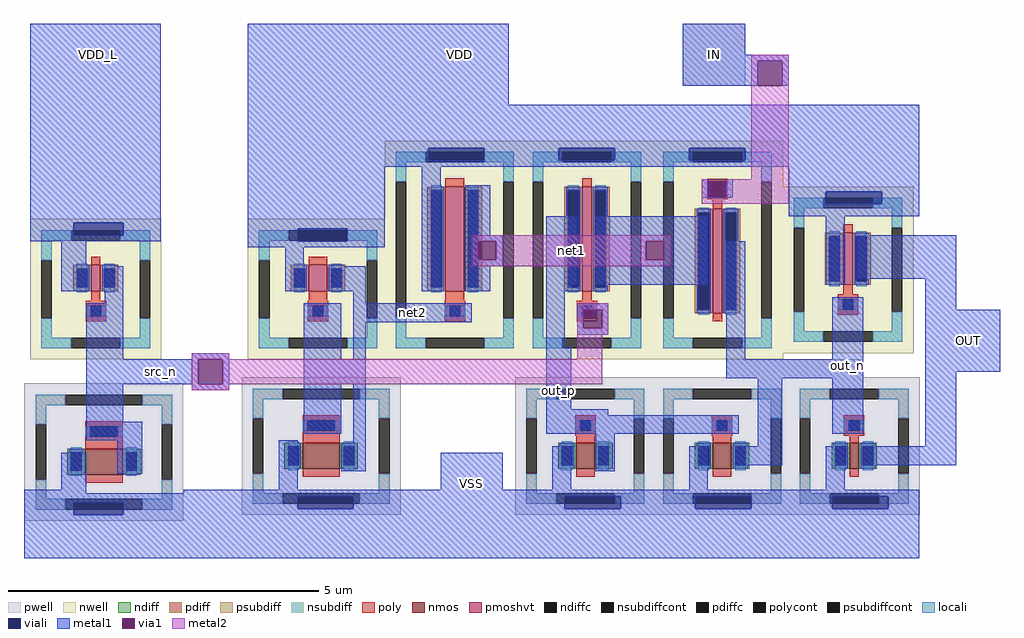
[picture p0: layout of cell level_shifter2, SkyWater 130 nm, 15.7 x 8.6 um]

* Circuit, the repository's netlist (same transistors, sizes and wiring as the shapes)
** sch_path: /tmp/tt10-level-shifter/xschem/level_shifter2.sch
.subckt level_shifter2 VSS VDD VDD_L IN OUT
*.PININFO VDD_L:B VDD:B VSS:B IN:I OUT:O
XM5 out_p src_n net1 VDD sky130_fd_pr__pfet_01v8_hvt L=0.15 W=1.68 nf=1 m=1
XM6 out_n IN net1 VDD sky130_fd_pr__pfet_01v8_hvt L=0.15 W=1.68 nf=1 m=1
XM7 out_p out_p VSS VSS sky130_fd_pr__nfet_01v8 L=0.3 W=0.42 nf=1 m=1
XM8 out_n out_p VSS VSS sky130_fd_pr__nfet_01v8 L=0.3 W=0.42 nf=1 m=1
XM9 OUT out_n VSS VSS sky130_fd_pr__nfet_01v8 L=0.15 W=0.42 nf=1 m=1
XM10 OUT out_n VDD VDD sky130_fd_pr__pfet_01v8_hvt L=0.15 W=0.84 nf=1 m=1
XM1 net1 net2 VDD VDD sky130_fd_pr__pfet_01v8_hvt L=0.3 W=1.68 nf=1 m=1
XM2 net2 net2 VDD VDD sky130_fd_pr__pfet_01v8_hvt L=0.3 W=0.42 nf=1 m=1
XM3 net2 net2 VSS VSS sky130_fd_pr__nfet_01v8 L=0.6 W=0.42 nf=1 m=1
XM4 src_n src_n VDD_L VDD_L sky130_fd_pr__pfet_01v8_hvt L=0.15 W=0.42 nf=1 m=1
XM11 src_n src_n VSS VSS sky130_fd_pr__nfet_01v8 L=0.6 W=0.42 nf=1 m=1
.ends
.end

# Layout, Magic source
magic
tech sky130A
magscale 1 2
<< pwell >>
rect 5620 -300 5820 -100
rect 5760 -1240 6200 -1180
rect 5200 -1360 5380 -1340
rect 5200 -1420 5400 -1360
rect 4520 -1540 4580 -1460
rect 5340 -1540 5400 -1420
<< viali >>
rect 4800 -540 4980 -500
rect 5220 -540 5400 -500
rect 5640 -540 5820 -500
rect 6080 -680 6260 -640
rect 3660 -780 3820 -740
rect 4380 -800 4540 -760
rect 3660 -1680 3820 -1640
rect 4380 -1660 4560 -1620
rect 5240 -1660 5420 -1620
rect 5660 -1660 5840 -1620
rect 6100 -1660 6280 -1620
<< metal1 >>
rect 3520 -740 3940 -100
rect 3520 -780 3660 -740
rect 3820 -780 3940 -740
rect 3520 -800 3940 -780
rect 4220 -360 5060 -100
rect 5620 -200 5820 -100
rect 5620 -220 5960 -200
rect 5620 -300 5860 -220
rect 5940 -300 5960 -220
rect 4220 -500 6380 -360
rect 4220 -540 4800 -500
rect 4980 -540 5220 -500
rect 5400 -540 5640 -500
rect 5820 -540 6380 -500
rect 4220 -560 6380 -540
rect 4220 -760 4660 -560
rect 4220 -800 4380 -760
rect 4540 -800 4660 -760
rect 3620 -960 3700 -800
rect 4220 -820 4660 -800
rect 3760 -1000 3820 -880
rect 4340 -960 4400 -820
rect 4480 -960 4600 -880
rect 4780 -960 4840 -560
rect 4920 -780 5000 -620
rect 5680 -660 5700 -600
rect 5760 -660 5780 -600
rect 5960 -640 6380 -560
rect 5960 -680 6080 -640
rect 6260 -680 6380 -640
rect 5960 -720 6380 -680
rect 4920 -800 5040 -780
rect 4920 -860 4960 -800
rect 5020 -860 5040 -800
rect 4920 -880 5040 -860
rect 4920 -960 5000 -880
rect 5180 -940 5280 -720
rect 5340 -800 5700 -720
rect 5340 -860 5500 -800
rect 5560 -860 5700 -800
rect 5340 -940 5700 -860
rect 5180 -960 5260 -940
rect 4560 -1000 4600 -960
rect 3700 -1180 3820 -1000
rect 4040 -1180 4160 -1160
rect 3700 -1260 4060 -1180
rect 4140 -1260 4160 -1180
rect 3700 -1380 3820 -1260
rect 4040 -1280 4160 -1260
rect 4400 -1180 4520 -1000
rect 4560 -1060 4940 -1000
rect 4560 -1180 4600 -1060
rect 4400 -1260 4600 -1180
rect 3700 -1440 3880 -1380
rect 4400 -1420 4520 -1260
rect 3620 -1600 3700 -1480
rect 3800 -1548 3880 -1440
rect 4320 -1600 4380 -1440
rect 4560 -1460 4600 -1260
rect 5180 -1140 5240 -960
rect 5280 -1020 5380 -1000
rect 5280 -1080 5300 -1020
rect 5360 -1080 5380 -1020
rect 5280 -1100 5380 -1080
rect 5180 -1340 5260 -1140
rect 5760 -1180 5820 -800
rect 6080 -940 6140 -720
rect 6180 -920 6500 -780
rect 6100 -1180 6200 -980
rect 5760 -1240 6200 -1180
rect 5180 -1360 5380 -1340
rect 5180 -1420 5800 -1360
rect 4520 -1540 4600 -1460
rect 4840 -1600 5040 -1480
rect 5200 -1600 5260 -1460
rect 5340 -1540 5400 -1420
rect 5860 -1460 5940 -1240
rect 6100 -1420 6200 -1240
rect 6400 -1020 6500 -920
rect 6400 -1220 6640 -1020
rect 6400 -1460 6500 -1220
rect 5640 -1600 5700 -1460
rect 5780 -1520 5940 -1460
rect 6080 -1600 6140 -1460
rect 6200 -1520 6500 -1460
rect 3500 -1610 3700 -1600
rect 4014 -1610 6380 -1600
rect 3500 -1620 6380 -1610
rect 3500 -1640 4380 -1620
rect 3500 -1680 3660 -1640
rect 3820 -1660 4380 -1640
rect 4560 -1660 5240 -1620
rect 5420 -1660 5660 -1620
rect 5840 -1660 6100 -1620
rect 6280 -1660 6380 -1620
rect 3820 -1680 6380 -1660
rect 3500 -1820 6380 -1680
<< via1 >>
rect 5860 -300 5940 -220
rect 5700 -660 5760 -600
rect 4960 -860 5020 -800
rect 5500 -860 5560 -800
rect 4060 -1260 4140 -1180
rect 5300 -1080 5360 -1020
<< metal2 >>
rect 5840 -220 5960 -200
rect 5840 -300 5860 -220
rect 5940 -300 5960 -220
rect 5840 -600 5960 -300
rect 5680 -660 5700 -600
rect 5760 -660 5960 -600
rect 5680 -680 5960 -660
rect 4940 -800 5580 -780
rect 4940 -860 4960 -800
rect 5020 -860 5500 -800
rect 5560 -860 5580 -800
rect 4940 -880 5580 -860
rect 5280 -1020 5380 -1000
rect 5280 -1080 5300 -1020
rect 5360 -1080 5380 -1020
rect 5280 -1100 5380 -1080
rect 4040 -1180 4160 -1160
rect 5280 -1180 5360 -1100
rect 4040 -1260 4060 -1180
rect 4140 -1260 5360 -1180
rect 4040 -1280 4160 -1260
use sky130_fd_pr__nfet_01v8_48YY59  sky130_fd_pr__nfet_01v8_48YY59_0
transform 1 0 4456 0 -1 -1459
box -256 -221 256 221
use sky130_fd_pr__nfet_01v8_L6RDF9  sky130_fd_pr__nfet_01v8_L6RDF9_0
transform 1 0 5746 0 1 -1459
box -226 -221 226 221
use sky130_fd_pr__pfet_01v8_hvt_MY4TMJ  sky130_fd_pr__pfet_01v8_hvt_MY4TMJ_0
transform 1 0 5731 0 1 -828
box -211 -352 211 352
use sky130_fd_pr__pfet_01v8_hvt_GCT3R5  XM1
transform 1 0 4886 0 1 -828
box -226 -352 226 352
use sky130_fd_pr__pfet_01v8_hvt_6W9GZD  XM2
transform 1 0 4446 0 1 -954
box -226 -226 226 226
use sky130_fd_pr__pfet_01v8_hvt_M479BK  XM4
transform 1 0 3731 0 -1 -954
box -211 -226 211 226
use sky130_fd_pr__pfet_01v8_hvt_LY4TMQ  XM5
transform 1 0 5311 0 1 -828
box -211 -352 211 352
use sky130_fd_pr__nfet_01v8_L6RDF9  XM7
transform 1 0 5306 0 1 -1459
box -226 -221 226 221
use sky130_fd_pr__nfet_01v8_L78EGD  XM9
transform 1 0 6171 0 1 -1459
box -211 -221 211 221
use sky130_fd_pr__pfet_01v8_hvt_2MG8BZ  XM10
transform 1 0 6151 0 1 -892
box -211 -268 211 268
use sky130_fd_pr__nfet_01v8_48YY59  XM11
transform 1 0 3757 0 -1 -1478
box -256 -221 256 221
<< labels >>
flabel metal1 4800 -300 5000 -100 0 FreeSans 256 0 0 0 VDD
port 1 nsew
flabel metal1 4840 -1680 5040 -1480 0 FreeSans 256 0 0 0 VSS
port 0 nsew
flabel metal1 3640 -300 3840 -100 0 FreeSans 256 0 0 0 VDD_L
port 2 nsew
flabel metal1 3740 -1260 4140 -1180 0 FreeSans 400 0 0 0 src_n
flabel metal1 6440 -1220 6640 -1020 0 FreeSans 256 0 0 0 OUT
port 4 nsew
flabel metal1 6100 -1420 6200 -980 0 FreeSans 400 0 0 0 out_n
flabel metal1 5620 -300 5820 -100 0 FreeSans 256 0 0 0 IN
port 3 nsew
flabel metal1 4560 -1060 4940 -1000 0 FreeSans 400 0 0 0 net2
flabel metal2 5020 -880 5500 -780 0 FreeSans 400 0 0 0 net1
flabel metal1 5180 -1420 5260 -1140 0 FreeSans 400 0 0 0 out_p
<< end >>

# cell sky130_fd_pr__nfet_01v8_48YY59: kit device sky130_fd_pr__nfet_01v8, w 0.42 l 0.6 m 1 nf 1 diffcov 100 polycov 100 guard 1 glc 1 grc 1 gtc 1 gbc 1 tbcov 100 rlcov 100 topc 0 botc 1 poverlap 0 doverlap 1 lmin 0.15 wmin 0.42 compatible {sky130_fd_pr__nfet_01v8 sky130_fd_pr__nfet_01v8_lvt sky130_fd_bs_flash__special_sonosfet_star sky130_fd_pr__nfet_g5v0d10v5 sky130_fd_pr__nfet_05v0_nvt sky130_fd_pr__nfet_03v3_nvt} full_metal 1 viasrc 100 viadrn 100 viagate 100 viagb 0 viagr 0 viagl 0 viagt 0

# cell sky130_fd_pr__nfet_01v8_L6RDF9: kit device sky130_fd_pr__nfet_01v8, w 0.42 l 0.3 m 1 nf 1 diffcov 100 polycov 100 guard 1 glc 1 grc 1 gtc 1 gbc 1 tbcov 100 rlcov 100 topc 1 botc 0 poverlap 0 doverlap 1 lmin 0.15 wmin 0.42 compatible {sky130_fd_pr__nfet_01v8 sky130_fd_pr__nfet_01v8_lvt sky130_fd_bs_flash__special_sonosfet_star sky130_fd_pr__nfet_g5v0d10v5 sky130_fd_pr__nfet_05v0_nvt sky130_fd_pr__nfet_03v3_nvt} full_metal 1 viasrc 100 viadrn 100 viagate 100 viagb 0 viagr 0 viagl 0 viagt 0

# cell sky130_fd_pr__pfet_01v8_hvt_MY4TMJ: kit device sky130_fd_pr__pfet_01v8_hvt, w 1.68 l 0.15 m 1 nf 1 diffcov 100 polycov 100 guard 1 glc 1 grc 1 gtc 1 gbc 1 tbcov 100 rlcov 100 topc 1 botc 0 poverlap 0 doverlap 1 lmin 0.15 wmin 0.42 compatible {sky130_fd_pr__pfet_01v8 sky130_fd_pr__pfet_01v8_lvt sky130_fd_pr__pfet_01v8_hvt sky130_fd_pr__pfet_g5v0d10v5} full_metal 1 viasrc 100 viadrn 100 viagate 100 viagb 0 viagr 0 viagl 0 viagt 0

# cell sky130_fd_pr__pfet_01v8_hvt_GCT3R5: kit device sky130_fd_pr__pfet_01v8_hvt, w 1.68 l 0.3 m 1 nf 1 diffcov 100 polycov 100 guard 1 glc 1 grc 1 gtc 1 gbc 1 tbcov 100 rlcov 100 topc 0 botc 1 poverlap 0 doverlap 1 lmin 0.15 wmin 0.42 compatible {sky130_fd_pr__pfet_01v8 sky130_fd_pr__pfet_01v8_lvt sky130_fd_pr__pfet_01v8_hvt sky130_fd_pr__pfet_g5v0d10v5} full_metal 1 viasrc 100 viadrn 100 viagate 100 viagb 0 viagr 0 viagl 0 viagt 0

# cell sky130_fd_pr__pfet_01v8_hvt_6W9GZD: kit device sky130_fd_pr__pfet_01v8_hvt, w 0.42 l 0.3 m 1 nf 1 diffcov 100 polycov 100 guard 1 glc 1 grc 1 gtc 1 gbc 1 tbcov 100 rlcov 100 topc 0 botc 1 poverlap 0 doverlap 1 lmin 0.15 wmin 0.42 compatible {sky130_fd_pr__pfet_01v8 sky130_fd_pr__pfet_01v8_lvt sky130_fd_pr__pfet_01v8_hvt sky130_fd_pr__pfet_g5v0d10v5} full_metal 1 viasrc 100 viadrn 100 viagate 100 viagb 0 viagr 0 viagl 0 viagt 0

# cell sky130_fd_pr__pfet_01v8_hvt_M479BK: kit device sky130_fd_pr__pfet_01v8_hvt, w 0.42 l 0.15 m 1 nf 1 diffcov 100 polycov 100 guard 1 glc 1 grc 1 gtc 1 gbc 1 tbcov 100 rlcov 100 topc 1 botc 0 poverlap 0 doverlap 1 lmin 0.15 wmin 0.42 compatible {sky130_fd_pr__pfet_01v8 sky130_fd_pr__pfet_01v8_lvt sky130_fd_pr__pfet_01v8_hvt sky130_fd_pr__pfet_g5v0d10v5} full_metal 1 viasrc 100 viadrn 100 viagate 100 viagb 0 viagr 0 viagl 0 viagt 0

# cell sky130_fd_pr__pfet_01v8_hvt_LY4TMQ: kit device sky130_fd_pr__pfet_01v8_hvt, w 1.68 l 0.15 m 1 nf 1 diffcov 100 polycov 100 guard 1 glc 1 grc 1 gtc 1 gbc 1 tbcov 100 rlcov 100 topc 0 botc 1 poverlap 0 doverlap 1 lmin 0.15 wmin 0.42 compatible {sky130_fd_pr__pfet_01v8 sky130_fd_pr__pfet_01v8_lvt sky130_fd_pr__pfet_01v8_hvt sky130_fd_pr__pfet_g5v0d10v5} full_metal 1 viasrc 100 viadrn 100 viagate 100 viagb 0 viagr 0 viagl 0 viagt 0

# cell sky130_fd_pr__nfet_01v8_L78EGD: kit device sky130_fd_pr__nfet_01v8, w 0.42 l 0.15 m 1 nf 1 diffcov 100 polycov 100 guard 1 glc 1 grc 1 gtc 1 gbc 1 tbcov 100 rlcov 100 topc 1 botc 0 poverlap 0 doverlap 1 lmin 0.15 wmin 0.42 compatible {sky130_fd_pr__nfet_01v8 sky130_fd_pr__nfet_01v8_lvt sky130_fd_bs_flash__special_sonosfet_star sky130_fd_pr__nfet_g5v0d10v5 sky130_fd_pr__nfet_05v0_nvt sky130_fd_pr__nfet_03v3_nvt} full_metal 1 viasrc 100 viadrn 100 viagate 100 viagb 0 viagr 0 viagl 0 viagt 0

# cell sky130_fd_pr__pfet_01v8_hvt_2MG8BZ: kit device sky130_fd_pr__pfet_01v8_hvt, w 0.84 l 0.15 m 1 nf 1 diffcov 100 polycov 100 guard 1 glc 1 grc 1 gtc 1 gbc 1 tbcov 100 rlcov 100 topc 0 botc 1 poverlap 0 doverlap 1 lmin 0.15 wmin 0.42 compatible {sky130_fd_pr__pfet_01v8 sky130_fd_pr__pfet_01v8_lvt sky130_fd_pr__pfet_01v8_hvt sky130_fd_pr__pfet_g5v0d10v5} full_metal 1 viasrc 100 viadrn 100 viagate 100 viagb 0 viagr 0 viagl 0 viagt 0
